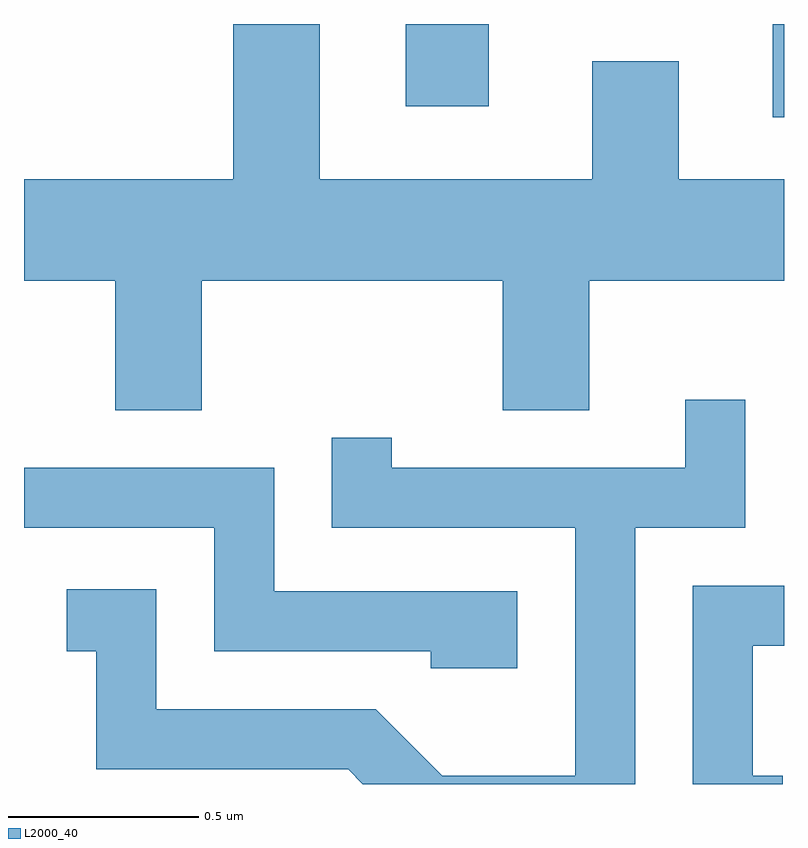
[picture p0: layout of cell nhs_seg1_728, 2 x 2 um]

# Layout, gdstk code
import gdstk
lib = gdstk.Library(unit=1e-6, precision=1e-09)
def R(c, l, rs):  # rectangles x0, y0, x1, y1
    for r in rs: c.add(gdstk.rectangle(r[:2], r[2:], *l))
def P(c, l, *ps):  # polygons
    for p in ps: c.add(gdstk.Polygon(p, *l))
L2000_40 = (2000, 40)

nhs_seg1_728 = lib.new_cell('nhs_seg1_728')
R(nhs_seg1_728, L2000_40, [(192.581,884.466,192.611,884.712), (191.616,884.496,191.834,884.712)])
P(nhs_seg1_728, L2000_40, [(191.079,884.036),(191.871,884.036),(191.871,883.696),(192.099,883.696),(192.099,884.036),(192.611,884.036),(192.611,884.304),(192.334,884.304),(192.334,884.614),(192.106,884.614),(192.106,884.304),(191.389,884.304),(191.389,884.712),(191.161,884.712),(191.161,884.304),(190.611,884.304),(190.611,884.036),(190.851,884.036),(190.851,883.696),(191.079,883.696)],
  [(192.219,883.386),(192.509,883.386),(192.509,883.723),(192.351,883.723),(192.351,883.544),(191.579,883.544),(191.579,883.623),(191.421,883.623),(191.421,883.386),(192.061,883.386),(192.061,882.734),(191.712,882.734),(191.537,882.909),(190.959,882.909),(190.959,883.224),(190.723,883.224),(190.723,883.061),(190.801,883.061),(190.801,882.751),(191.464,882.751),(191.503,882.712),(192.219,882.712)],
  [(191.909,883.219),(191.269,883.219),(191.269,883.544),(190.611,883.544),(190.611,883.386),(191.111,883.386),(191.111,883.061),(191.681,883.061),(191.681,883.016),(191.909,883.016)],
  [(192.608,882.734),(192.529,882.734),(192.529,883.076),(192.611,883.076),(192.611,883.234),(192.371,883.234),(192.371,882.712),(192.608,882.712)])

lib.write_gds('nhs_seg1_728.gds')
